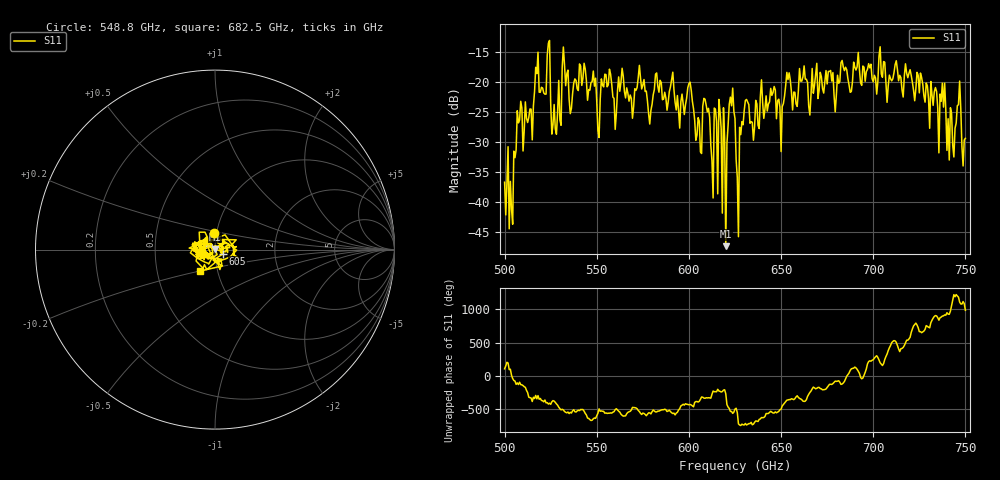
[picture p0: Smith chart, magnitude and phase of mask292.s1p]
!Created with skrf (http://scikit-rf.org).
# GHz S MA R 50.0
!freq magS11 angS11
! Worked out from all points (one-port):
!   401 points, 500 GHz to 750 GHz, reference 50 ohm
!   lowest |S11| = -47.4 dB at 620 GHz (marker M1), VSWR 1.01, Z = 50 + j0.424 ohm
!   |S11| at or under -10 dB: start of sweep to end of sweep
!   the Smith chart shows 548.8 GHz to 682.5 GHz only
!   S11 on the Smith chart (normalised r, x): 548.8 GHz: 0.98, +0.18; 605 GHz: 1.09, -0.05; 682.5 GHz: 0.82, -0.20
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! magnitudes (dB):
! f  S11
! 500 GHz  -36.7
! 503.8 GHz  -41.2
! 508.1 GHz  -26.3
! 513.8 GHz  -24.5
! 517.5 GHz  -18.6
! 523.8 GHz  -13.5
! 526.9 GHz  -23.7
! 531.2 GHz  -17.5
! 548.8 GHz  -20.7
! 562.5 GHz  -21.5
! 593.8 GHz  -22.2
! 600.6 GHz  -20.0
! 605 GHz  -25.9
! 609.4 GHz  -23.9
! 611.9 GHz  -30.5
! 620 GHz  -47.4
! 623.1 GHz  -23.9
! 625 GHz  -26.1
! 626.9 GHz  -45.8
! 631.2 GHz  -22.9
! 656.2 GHz  -24.6
! 682.5 GHz  -16.7
! 687.5 GHz  -21.7
! 718.8 GHz  -19.2
! 737.5 GHz  -20.1
! 742.5 GHz  -25.1
! 746.2 GHz  -23.7
! 750 GHz  -29.4
